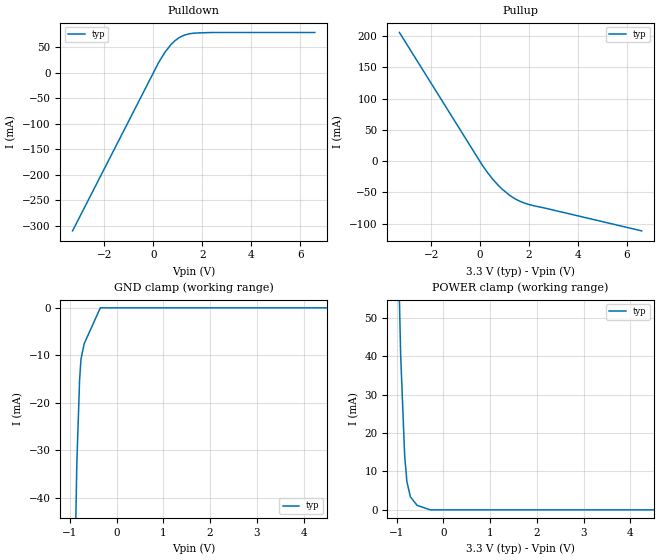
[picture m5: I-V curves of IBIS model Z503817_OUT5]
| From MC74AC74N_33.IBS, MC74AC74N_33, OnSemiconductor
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| (C) COPYRIGHT 1993-2000
| MENTOR GRAPHICS CORPORATION
| ICX STANDARD LIBRARY, ICX PROJECT MODELING,
| ICX CUSTOM MODELING, ICX VENDOR MODEL
| ALL RIGHTS RESERVED.
| THE FOLLOWING ARE TRADEMARKS OR SERVICE MARKS OF
| MENTOR GRAPHICS CORPORATION:ICX (R), ICX STANDARD
| LIBRARY(R), ICX PROJECT MODELING(R), ICX CUSTOM
| MODELING(R), qualityIBIS(TM), MODELVIEWER(TM),
| AND MODELEDITOR(TM)
| ALL COPIES OF SOFTWARE, INCLUDING BUT NOT LIMITED TO
| ANY MODIFICATIONS, ENHANCEMENTS OR DERIVATIVE WORKS,
| MUST CONTAIN ALL MENTOR GRAPHICS CORPORATION'S
| NOTICES AND LEGENDS, INCLUDING THOSE EMBEDDED IN
| SOFTWARE AND THOSE AFFIXED TO SOFTWARE MEDIUM
| AND CONTAINER, AS RECEIVED FROM MENTOR GRAPHICS
| CORPORATION.
| Model Application Version 1.89 2/18/99.
[Model] Z503817_OUT5
Model_type Output
Vref=0.000V
Rref=500.0ohms
Cref=50.00pF
Vmeas=1.650V
C_comp 8.000pF NA NA
| variable typ   min   max
[Voltage Range] 3.300V NA NA
[POWER Clamp Reference] 3.300V NA NA
[Pullup Reference] 3.300V NA NA
[Pulldown Reference] 0.000V NA NA
[GND Clamp Reference] 0.000V NA NA
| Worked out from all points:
|   slope of the pulldown table from 0 to 0.495 V, typ, clamps not added: 11.8 ohm
|   slope of the pullup table from 0 to 0.495 V, typ, clamps not added: 18.4 ohm
[GND Clamp]
-3.3V     -1.189A    NA         NA
-1.025V   -126.5mA   NA         NA
-849.2mV  -32.72mA   NA         NA
-790.9mV  -15.26mA   NA         NA
-760.8mV  -10.81mA   NA         NA
-693.2mV  -7.583mA   NA         NA
-346.6mV  0A         NA         NA
6.6V      0A         NA         NA
[Pulldown]
-3.3V     -309.5mA   NA         NA
224.8mV   20.9mA     NA         NA
481.6mV   40.79mA    NA         NA
727.3mV   55.72mA    NA         NA
875.1mV   62.63mA    NA         NA
1.03V     68.22mA    NA         NA
1.284V    74.23mA    NA         NA
1.838V    78.36mA    NA         NA
6.6V      79.13mA    NA         NA
[Pullup]
-3.3V     205.5mA    NA         NA
93mV      -6.852mA   NA         NA
488mV     -27.59mA   NA         NA
908mV     -45.13mA   NA         NA
1.429V    -60.33mA   NA         NA
2.018V    -69.6mA    NA         NA
6.6V      -111.4mA   NA         NA
[POWER Clamp]
-3.3V     1.588A     NA         NA
-1.06V    118.4mA    NA         NA
-915mV    40.5mA     NA         NA
-829mV    14.12mA    NA         NA
-781mV    7.318mA    NA         NA
-706mV    3.392mA    NA         NA
-563mV    1.17mA     NA         NA
-281.5mV  0A         NA         NA
6.6V      0A         NA         NA
[Ramp]
| variable typ min max
dV/dt_r 1.927/438.7p NA NA
dV/dt_f 1.927/287.9p NA NA
R_load = 500.0Ohms
